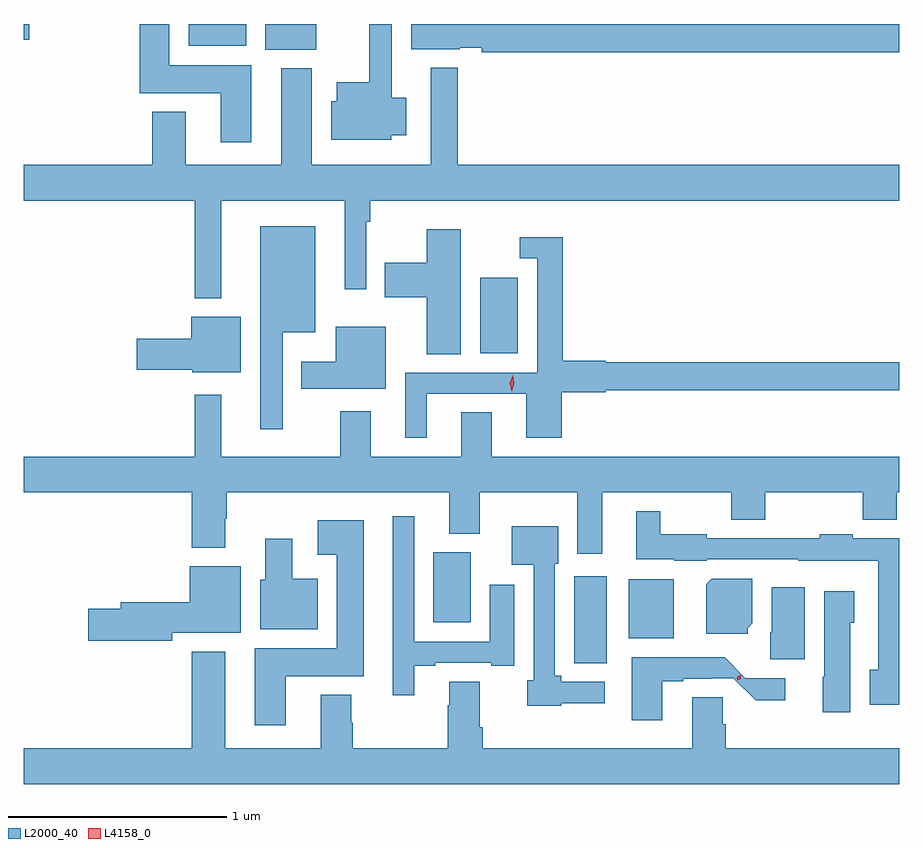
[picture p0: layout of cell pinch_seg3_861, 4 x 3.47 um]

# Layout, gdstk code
import gdstk
lib = gdstk.Library(unit=1e-6, precision=1e-09)
def R(c, l, rs):  # rectangles x0, y0, x1, y1
    for r in rs: c.add(gdstk.rectangle(r[:2], r[2:], *l))
def P(c, l, *ps):  # polygons
    for p in ps: c.add(gdstk.Polygon(p, *l))
L2000_40 = (2000, 40)
L4158_0 = (4158, 0)

pinch_seg3_861 = lib.new_cell('pinch_seg3_861')
R(pinch_seg3_861, L2000_40, [(665.279,677.491,665.428,677.89), (665.528,677.606,665.734,677.876), (664.637,677.678,664.807,677.998), (664.85,678.908,665.023,679.252), (663.869,680.294,664.102,680.412), (663.518,680.312,663.781,680.412), (662.765,680.339,662.791,680.412)])
P(pinch_seg3_861, L2000_40, [(666.765,680.412),(664.535,680.412),(664.535,680.297),(664.758,680.297),(664.758,680.303),(664.858,680.303),(664.858,680.284),(666.765,680.284)],
  [(664.443,679.904),(664.513,679.904),(664.513,680.075),(664.447,680.075),(664.447,680.412),(664.343,680.412),(664.343,680.146),(664.196,680.146),(664.196,680.058),(664.169,680.058),(664.169,679.883),(664.443,679.883)],
  [(663.805,680.224),(663.43,680.224),(663.43,680.412),(663.296,680.412),(663.296,680.096),(663.665,680.096),(663.665,679.872),(663.805,679.872)],
  [(666.765,679.768),(664.747,679.768),(664.747,680.212),(664.625,680.212),(664.625,679.768),(664.081,679.768),(664.081,680.209),(663.941,680.209),(663.941,679.768),(663.505,679.768),(663.505,680.011),(663.353,680.011),(663.353,679.768),(662.765,679.768),(662.765,679.604),(663.546,679.604),(663.546,679.16),(663.667,679.16),(663.667,679.604),(664.232,679.604),(664.232,679.2),(664.329,679.2),(664.329,679.508),(664.349,679.508),(664.349,679.604),(666.765,679.604)],
  [(663.949,679.004),(664.096,679.004),(664.096,679.489),(663.845,679.489),(663.845,678.561),(663.949,678.561)],
  [(664.762,679.474),(664.607,679.474),(664.607,679.321),(664.414,679.321),(664.414,679.163),(664.607,679.163),(664.607,678.904),(664.762,678.904)],
  [(664.606,678.723),(665.06,678.723),(665.06,678.522),(665.222,678.522),(665.222,678.73),(665.424,678.73),(665.424,678.738),(666.765,678.738),(666.765,678.866),(665.424,678.866),(665.424,678.874),(665.228,678.874),(665.228,679.438),(665.031,679.438),(665.031,679.341),(665.112,679.341),(665.112,678.819),(664.508,678.819),(664.508,678.522),(664.606,678.522)],
  [(663.757,679.075),(663.53,679.075),(663.53,678.974),(663.282,678.974),(663.282,678.832),(663.534,678.832),(663.534,678.821),(663.757,678.821)],
  [(664.42,679.03),(664.19,679.03),(664.19,678.868),(664.034,678.868),(664.034,678.746),(664.42,678.746)],
  [(665.407,678.272),(665.998,678.272),(665.998,678.148),(666.153,678.148),(666.153,678.272),(666.598,678.272),(666.598,678.148),(666.753,678.148),(666.753,678.272),(666.765,678.272),(666.765,678.436),(664.903,678.436),(664.903,678.638),(664.763,678.638),(664.763,678.436),(664.351,678.436),(664.351,678.643),(664.211,678.643),(664.211,678.436),(663.667,678.436),(663.667,678.718),(663.546,678.718),(663.546,678.436),(662.765,678.436),(662.765,678.272),(663.533,678.272),(663.533,678.02),(663.685,678.02),(663.685,678.152),(663.693,678.152),(663.693,678.272),(664.709,678.272),(664.709,678.083),(664.849,678.083),(664.849,678.272),(665.294,678.272),(665.294,677.991),(665.407,677.991)],
  [(666.765,678.063),(666.552,678.063),(666.552,678.081),(666.402,678.081),(666.402,678.063),(665.886,678.063),(665.886,678.082),(665.674,678.082),(665.674,678.187),(665.564,678.187),(665.564,677.966),(665.736,677.966),(665.736,677.96),(665.886,677.96),(665.886,677.967),(666.303,677.967),(666.303,677.96),(666.669,677.96),(666.669,677.462),(666.629,677.462),(666.629,677.301),(666.765,677.301)],
  [(664.549,677.481),(664.645,677.481),(664.645,677.493),(664.901,677.493),(664.901,677.481),(665.005,677.481),(665.005,677.851),(664.895,677.851),(664.895,677.589),(664.548,677.589),(664.548,678.163),(664.451,678.163),(664.451,677.346),(664.549,677.346)],
  [(663.961,677.432),(664.318,677.432),(664.318,678.145),(664.109,678.145),(664.109,677.987),(664.196,677.987),(664.196,677.56),(663.821,677.56),(663.821,677.208),(663.961,677.208)],
  [(665.22,677.309),(665.419,677.309),(665.419,677.406),(665.22,677.406),(665.22,677.434),(665.19,677.434),(665.19,677.946),(665.206,677.946),(665.206,678.118),(664.994,678.118),(664.994,677.942),(665.094,677.942),(665.094,677.415),(665.066,677.415),(665.066,677.297),(665.22,677.297)],
  [(664.108,677.878),(663.991,677.878),(663.991,678.061),(663.869,678.061),(663.869,677.874),(663.845,677.874),(663.845,677.648),(664.108,677.648)],
  [(663.444,677.63),(663.757,677.63),(663.757,677.935),(663.524,677.935),(663.524,677.771),(663.209,677.771),(663.209,677.741),(663.06,677.741),(663.06,677.594),(663.444,677.594)],
  [(666.072,677.652),(666.094,677.674),(666.094,677.878),(665.908,677.878),(665.882,677.852),(665.882,677.627),(666.072,677.627)],
  [(666.334,677.839),(666.182,677.839),(666.182,677.634),(666.176,677.634),(666.176,677.509),(666.334,677.509)],
  [(666.541,677.676),(666.559,677.676),(666.559,677.821),(666.422,677.821),(666.422,677.43),(666.416,677.43),(666.416,677.268),(666.541,677.268)],
  [(666.765,677.104),(665.972,677.104),(665.972,677.214),(665.958,677.214),(665.958,677.336),(665.819,677.336),(665.819,677.104),(664.862,677.104),(664.862,677.2),(664.849,677.2),(664.849,677.408),(664.709,677.408),(664.709,677.3),(664.702,677.3),(664.702,677.104),(664.269,677.104),(664.269,677.22),(664.261,677.22),(664.261,677.347),(664.121,677.347),(664.121,677.104),(663.685,677.104),(663.685,677.545),(663.533,677.545),(663.533,677.104),(662.765,677.104),(662.765,676.94),(666.765,676.94)],
  [(665.683,677.409),(665.779,677.409),(665.779,677.421),(665.906,677.421),(665.906,677.424),(666.006,677.424),(666.109,677.322),(666.244,677.322),(666.244,677.424),(666.062,677.424),(665.968,677.518),(665.543,677.518),(665.543,677.232),(665.683,677.232)])
P(pinch_seg3_861, L4158_0, [(666.024,677.414),(666.024,677.431),(666.039,677.437),(666.039,677.437),(666.04,677.437),(666.04,677.42),(666.025,677.414),(666.025,677.414)],
  [(664.994,678.735),(664.986,678.771),(664.998,678.806),(664.998,678.807),(664.998,678.806),(665.006,678.77),(664.995,678.735),(664.995,678.735)])

lib.write_gds('pinch_seg3_861.gds')
